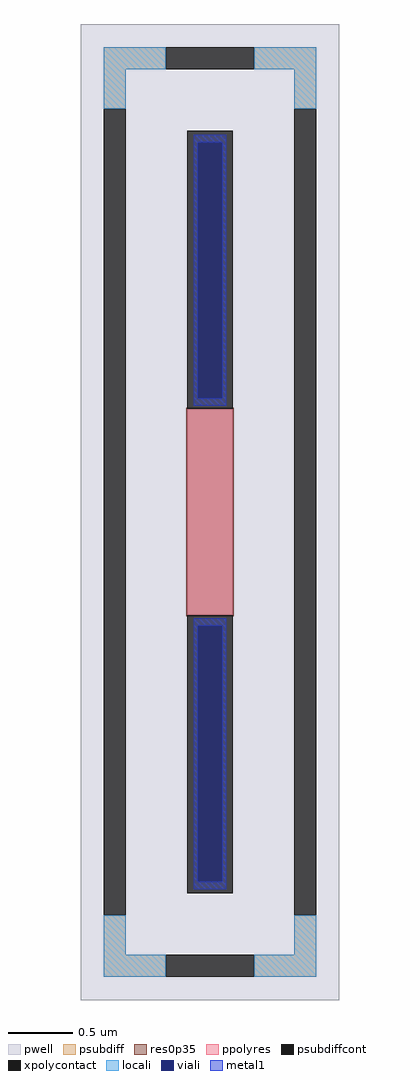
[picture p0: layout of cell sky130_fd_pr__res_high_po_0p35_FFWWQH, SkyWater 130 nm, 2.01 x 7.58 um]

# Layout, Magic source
magic
tech sky130A
magscale 1 2
<< pwell >>
rect -201 -758 201 758
<< psubdiff >>
rect -165 688 -69 722
rect 69 688 165 722
rect -165 626 -131 688
rect 131 626 165 688
rect -165 -688 -131 -626
rect 131 -688 165 -626
rect -165 -722 -69 -688
rect 69 -722 165 -688
<< psubdiffcont >>
rect -69 688 69 722
rect -165 -626 -131 626
rect 131 -626 165 626
rect -69 -722 69 -688
<< xpolycontact >>
rect -35 160 35 592
rect -35 -592 35 -160
<< ppolyres >>
rect -35 -160 35 160
<< locali >>
rect -165 688 -69 722
rect 69 688 165 722
rect -165 626 -131 688
rect 131 626 165 688
rect -165 -688 -131 -626
rect 131 -688 165 -626
rect -165 -722 -69 -688
rect 69 -722 165 -688
<< viali >>
rect -19 177 19 574
rect -19 -574 19 -177
<< metal1 >>
rect -25 574 25 586
rect -25 177 -19 574
rect 19 177 25 574
rect -25 165 25 177
rect -25 -177 25 -165
rect -25 -574 -19 -177
rect 19 -574 25 -177
rect -25 -586 25 -574
<< res0p35 >>
rect -37 -162 37 162
<< properties >>
string FIXED_BBOX -148 -705 148 705
string gencell sky130_fd_pr__res_high_po_0p35
string library sky130
string parameters w 0.350 l 1.6 m 1 nx 1 wmin 0.350 lmin 0.50 rho 319.8 val 2.575k dummy 0 dw 0.0 term 194.82 sterm 0.0 caplen 0 guard 1 glc 1 grc 1 gtc 1 gbc 1 compatible {sky130_fd_pr__res_high_po_0p35  sky130_fd_pr__res_high_po_0p69 sky130_fd_pr__res_high_po_1p41  sky130_fd_pr__res_high_po_2p85 sky130_fd_pr__res_high_po_5p73} full_metal 1 wmax 0.350 vias 1 n_guard 0 hv_guard 0 viagb 0 viagt 0 viagl 0 viagr 0
<< end >>
